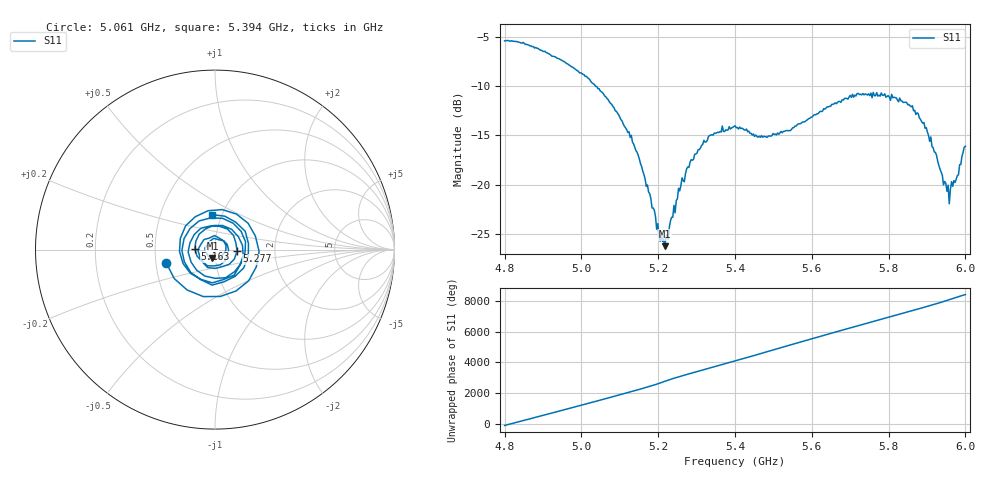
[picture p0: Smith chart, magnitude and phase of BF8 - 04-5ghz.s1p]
! NanoVNA-App
! Date: 2026-05-22 16:37:23
! Start: 4.8GHz Stop: 6GHz Points: 401
! S-Parameter data: F S11
# Hz S RI R 50
!  Frequency  S11_Real  S11_Imag
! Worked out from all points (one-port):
!   401 points, 4.8 GHz to 6 GHz, reference 50 ohm
!   lowest |S11| = -26.3 dB at 5.217 GHz (marker M1), VSWR 1.10, Z = 48.4 - j4.5 ohm
!   |S11| at or under -10 dB: 5.037 GHz to end of sweep
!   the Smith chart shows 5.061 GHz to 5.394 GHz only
!   S11 on the Smith chart (normalised r, x): 5.061 GHz: 0.57, -0.09; 5.163 GHz: 0.80, +0.01; 5.277 GHz: 1.28, -0.02; 5.394 GHz: 0.90, +0.37
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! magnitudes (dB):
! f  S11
! 4.8 GHz  -5.4
! 4.854 GHz  -5.8
! 4.95 GHz  -7.4
! 5.013 GHz  -9.0
! 5.061 GHz  -11.0
! 5.1 GHz  -13.2
! 5.13 GHz  -15.0
! 5.163 GHz  -19.0
! 5.184 GHz  -22.4
! 5.199 GHz  -24.0
! 5.211 GHz  -25.8
! 5.217 GHz  -26.3
! 5.223 GHz  -25.1
! 5.25 GHz  -21.4
! 5.259 GHz  -20.1
! 5.277 GHz  -18.2
! 5.334 GHz  -15.0
! 5.394 GHz  -14.2
! 5.4 GHz  -14.0
! 5.478 GHz  -15.1
! 5.55 GHz  -14.2
! 5.7 GHz  -10.9
! 5.784 GHz  -10.9
! 5.85 GHz  -11.9
! 5.898 GHz  -14.2
! 5.955 GHz  -20.1
! 5.976 GHz  -19.5
! 6 GHz  -16.1
